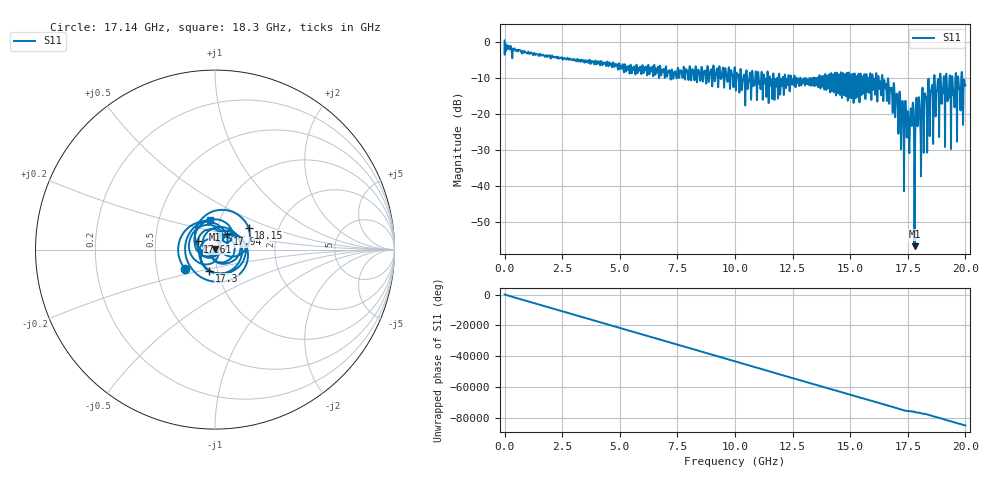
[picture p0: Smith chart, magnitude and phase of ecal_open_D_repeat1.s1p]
! MS46122B
! 2250307/22442219
! 7/24/2025 12:42:25 PM
! C:\USERS\SPARKY\DOCUMENTS\VNA_DATA\JULY24_2025\295K\ECAL_OPEN_D_REPEAT1.S1P
! CHANNEL.1
! TR.MEASUREMENT
! RAW.DATA
# GHZ S RI R 50.0
! FREQ.GHZ  S11RE  S11IM
!; PortSelection: Port_1
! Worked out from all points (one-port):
!   10001 points, 1 MHz to 20 GHz, reference 50 ohm
!   lowest |S11| = -56.6 dB at 17.79 GHz (marker M1), VSWR 1.00, Z = 50 + j0.148 ohm
!   |S11| at or under -10 dB: 12.84 GHz to 13.24 GHz (400.2 MHz wide, 3.07 % of centre); 16.4 GHz to 18.64 GHz (2.234 GHz wide, 12.8 % of centre); 18.67 GHz to 18.89 GHz (223.7 MHz wide, 1.19 % of centre) (the widest 3 of 89)
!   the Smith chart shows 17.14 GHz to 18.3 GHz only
!   S11 on the Smith chart (normalised r, x): 17.14 GHz: 0.70, -0.15; 17.3 GHz: 0.91, -0.22; 17.61 GHz: 0.82, +0.08; 17.94 GHz: 1.13, +0.20; 18.15 GHz: 1.40, +0.36; 18.3 GHz: 0.90, +0.31
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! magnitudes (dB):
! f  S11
! 1 MHz  0.4
! 2.501 GHz  -4.5
! 5.001 GHz  -7.0
! 7.501 GHz  -8.0
! 10 GHz  -7.4
! 11.54 GHz  -12.1
! 12.5 GHz  -10.3
! 15 GHz  -11.3
! 16.57 GHz  -12.4
! 16.96 GHz  -18.7
! 17.14 GHz  -14.1
! 17.3 GHz  -18.1
! 17.5 GHz  -19.2
! 17.61 GHz  -19.4
! 17.68 GHz  -23.2
! 17.73 GHz  -17.1
! 17.79 GHz  -56.6
! 17.86 GHz  -16.2
! 17.94 GHz  -19.2
! 18 GHz  -16.4
! 18.15 GHz  -13.0
! 18.2 GHz  -25.5
! 18.26 GHz  -15.3
! 18.3 GHz  -15.4
! 18.99 GHz  -15.1
! 19.45 GHz  -12.1
! 19.51 GHz  -15.0
! 20 GHz  -12.1
